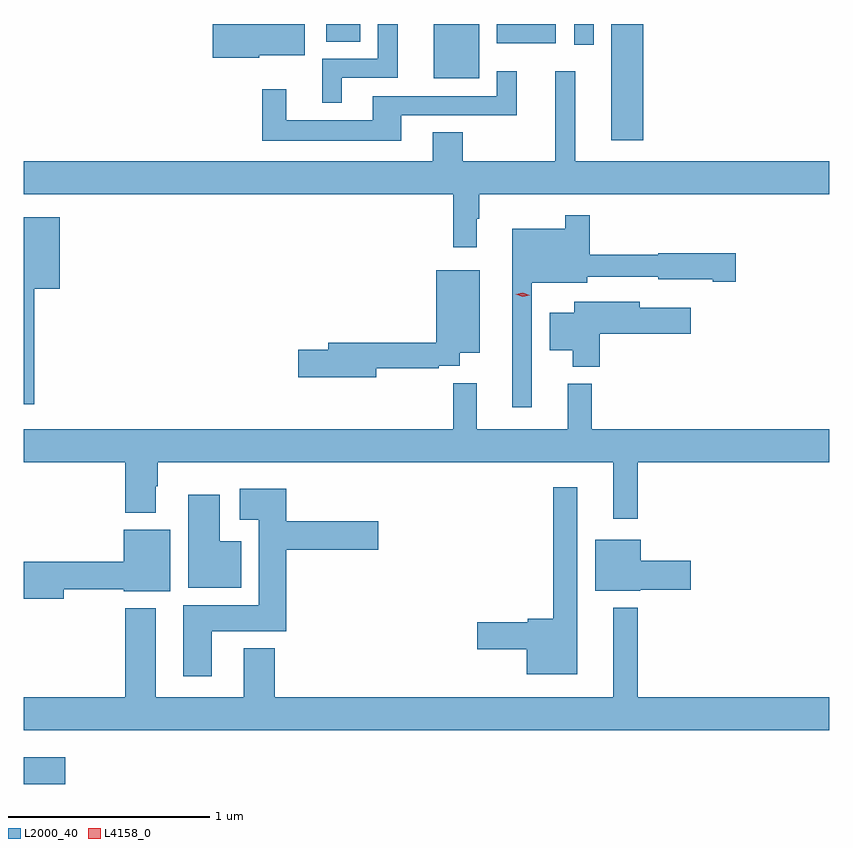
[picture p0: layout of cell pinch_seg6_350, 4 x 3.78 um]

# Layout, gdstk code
import gdstk
lib = gdstk.Library(unit=1e-6, precision=1e-09)
def R(c, l, rs):  # rectangles x0, y0, x1, y1
    for r in rs: c.add(gdstk.rectangle(r[:2], r[2:], *l))
def P(c, l, *ps):  # polygons
    for p in ps: c.add(gdstk.Polygon(p, *l))
L2000_40 = (2000, 40)
L4158_0 = (4158, 0)

pinch_seg6_350 = lib.new_cell('pinch_seg6_350')
R(pinch_seg6_350, L2000_40, [(681.677,945.737,681.883,945.871), (684.596,948.936,684.755,949.513), (683.714,949.244,683.938,949.513), (684.411,949.41,684.507,949.513), (684.026,949.418,684.319,949.513), (683.18,949.426,683.347,949.513)])
P(pinch_seg6_350, L2000_40, [(682.845,949.358),(683.071,949.358),(683.071,949.513),(682.614,949.513),(682.614,949.346),(682.845,949.346)],
  [(683.257,949.245),(683.534,949.245),(683.534,949.513),(683.436,949.513),(683.436,949.341),(683.159,949.341),(683.159,949.121),(683.257,949.121)],
  [(683.551,949.059),(684.125,949.059),(684.125,949.279),(684.027,949.279),(684.027,949.155),(683.411,949.155),(683.411,949.036),(682.981,949.036),(682.981,949.189),(682.86,949.189),(682.86,948.932),(683.551,948.932)],
  [(684.317,949.279),(684.317,948.832),(683.856,948.832),(683.856,948.974),(683.708,948.974),(683.708,948.832),(681.677,948.832),(681.677,948.668),(683.809,948.668),(683.809,948.405),(683.926,948.405),(683.926,948.545),(683.938,948.545),(683.938,948.668),(685.677,948.668),(685.677,948.832),(684.416,948.832),(684.416,949.279)],
  [(684.201,948.227),(684.475,948.227),(684.475,948.258),(684.828,948.258),(684.828,948.245),(685.1,948.245),(685.1,948.233),(685.213,948.233),(685.213,948.375),(684.828,948.375),(684.828,948.367),(684.487,948.367),(684.487,948.562),(684.366,948.562),(684.366,948.496),(684.104,948.496),(684.104,947.61),(684.201,947.61)],
  [(681.727,948.197),(681.856,948.197),(681.856,948.553),(681.677,948.553),(681.677,947.625),(681.727,947.625)],
  [(683.428,947.802),(683.738,947.802),(683.738,947.814),(683.842,947.814),(683.842,947.879),(683.941,947.879),(683.941,948.289),(683.726,948.289),(683.726,947.93),(683.189,947.93),(683.189,947.894),(683.04,947.894),(683.04,947.759),(683.428,947.759)],
  [(684.539,947.974),(684.991,947.974),(684.991,948.103),(684.736,948.103),(684.736,948.133),(684.41,948.133),(684.41,948.079),(684.29,948.079),(684.29,947.891),(684.404,947.891),(684.404,947.81),(684.539,947.81)],
  [(684.727,947.336),(685.677,947.336),(685.677,947.5),(684.497,947.5),(684.497,947.725),(684.38,947.725),(684.38,947.5),(683.927,947.5),(683.927,947.729),(683.809,947.729),(683.809,947.5),(681.677,947.5),(681.677,947.336),(682.181,947.336),(682.181,947.084),(682.333,947.084),(682.333,947.216),(682.341,947.216),(682.341,947.336),(684.605,947.336),(684.605,947.055),(684.727,947.055)],
  [(684.427,947.212),(684.306,947.212),(684.306,946.559),(684.18,946.559),(684.18,946.541),(683.928,946.541),(683.928,946.406),(684.176,946.406),(684.176,946.283),(684.427,946.283)],
  [(682.609,946.496),(682.979,946.496),(682.979,946.901),(683.437,946.901),(683.437,947.043),(682.979,947.043),(682.979,947.203),(682.749,947.203),(682.749,947.051),(682.844,947.051),(682.844,946.624),(682.469,946.624),(682.469,946.272),(682.609,946.272)],
  [(682.756,946.942),(682.651,946.942),(682.651,947.173),(682.493,947.173),(682.493,946.712),(682.756,946.712)],
  [(681.874,946.705),(682.172,946.705),(682.172,946.694),(682.405,946.694),(682.405,946.999),(682.172,946.999),(682.172,946.841),(681.677,946.841),(681.677,946.658),(681.874,946.658)],
  [(684.738,946.703),(684.991,946.703),(684.991,946.845),(684.742,946.845),(684.742,946.951),(684.515,946.951),(684.515,946.697),(684.738,946.697)],
  [(685.677,946.168),(684.727,946.168),(684.727,946.612),(684.605,946.612),(684.605,946.168),(682.922,946.168),(682.922,946.411),(682.769,946.411),(682.769,946.168),(682.333,946.168),(682.333,946.609),(682.181,946.609),(682.181,946.168),(681.677,946.168),(681.677,946.004),(685.677,946.004)])
P(pinch_seg6_350, L4158_0, [(684.155,948.157),(684.12,948.17),(684.12,948.17),(684.12,948.17),(684.156,948.177),(684.191,948.165),(684.191,948.165),(684.191,948.165)])

lib.write_gds('pinch_seg6_350.gds')
